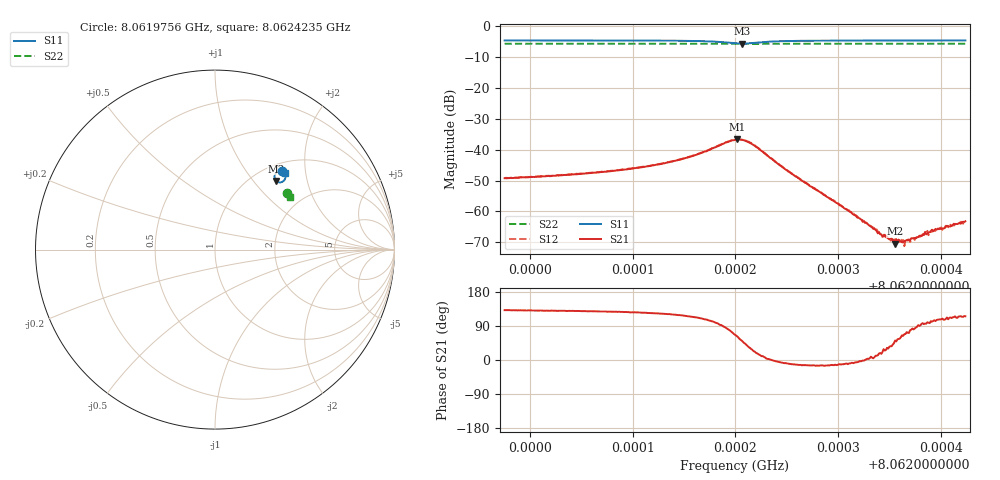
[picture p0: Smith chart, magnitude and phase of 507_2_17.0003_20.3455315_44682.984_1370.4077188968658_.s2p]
#  HZ  S  RI  R  50.00
! Rohde & Schwarz Vector Network Analyzer
! Rohde-Schwarz,ZNB20-2Port,1311601062101988,3.16
! Created: UTC 3/20/2024, 11:14:50 PM
! freq[Hz]  re:S11  im:S11  re:S21  im:S21  re:S12  im:S12  re:S22  im:S22
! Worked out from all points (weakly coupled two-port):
!   401 points, 8.0619756 GHz to 8.0624235 GHz, reference 50 ohm
!   highest |S21| = -36.76 dB at 8.0622018 GHz (marker M1); lowest = -70.4 dB at 8.0623552 GHz (marker M2)
!   lowest |S11| = -5.8 dB at 8.0622063 GHz (marker M3), VSWR 3.10, Z = 63.6 + j66 ohm
!   |S11| at or under -10 dB: nowhere
!   |S22| runs from -5.9 to -5.8 dB; largest |S21 - S12| = 0.001
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8.06197561e9  0.3753 0.4369  -0.00228 0.00258  -0.0021 0.00273  0.4028 0.3128
8.06205064e9  0.3813 0.4311  -0.00256 0.00316  -0.00238 0.00333  0.4056 0.309
8.06209543e9  0.3855 0.4259  -0.00286 0.0039  -0.00262 0.00412  0.4072 0.3067
8.06212567e9  0.389 0.4204  -0.00311 0.00485  -0.00282 0.00509  0.4082 0.305
8.06215702e9  0.3923 0.4092  -0.00322 0.00703  -0.00279 0.00729  0.4093 0.3029
8.06218278e9  0.3871 0.388  -0.0013 0.0112  -0.000523 0.0114  0.4097 0.3007
8.06219958e9  0.3584 0.3748  0.00567 0.0131  0.00642 0.0129  0.4088 0.2998
8.06220182e9  0.3526 0.3761  0.00681 0.0128  0.00766 0.0124  0.4085 0.2999
8.0622063e9  0.3417 0.3823  0.00901 0.011  0.0099 0.0106  0.4084 0.3
8.06221749e9  0.3317 0.4086  0.0109 0.00475  0.0112 0.00426  0.4087 0.3008
8.06225221e9  0.3596 0.4356  0.00429 -0.000764  0.00428 -0.00102  0.4115 0.3001
8.06227461e9  0.3694 0.435  0.00239 -0.000607  0.00237 -0.000791  0.4126 0.2988
8.0623082e9  0.3774 0.4323  0.00106 -0.000175  0.00105 -0.000269  0.414 0.2969
8.06234068e9  0.3822 0.4297  0.00041 0.000137  0.000418 0.000114  0.4153 0.2952
8.06234964e9  0.3833 0.4289  0.000291 0.000205  0.0003 0.000189  0.4157 0.2946
8.06235524e9  0.3838 0.4286  0.000189 0.000237  0.000256 0.000248  0.416 0.2943
8.06236307e9  0.3847 0.428  0.000139 0.000284  0.000165 0.000304  0.4164 0.294
8.06237203e9  0.3856 0.4273  4.28e-05 0.000367  5.16e-05 0.000355  0.4164 0.2936
8.06238435e9  0.3868 0.4265  -5.15e-05 0.000467  -2.66e-05 0.000429  0.417 0.2928
8.06239219e9  0.3873 0.4259  -0.000107 0.000469  -7.86e-05 0.000476  0.4172 0.2924
8.06241795e9  0.3897 0.4243  -0.000275 0.000597  -0.000222 0.000604  0.4181 0.291
8.06242355e9  0.3901 0.424  -0.000299 0.000627  -0.000264 0.000623  0.4183 0.2909
